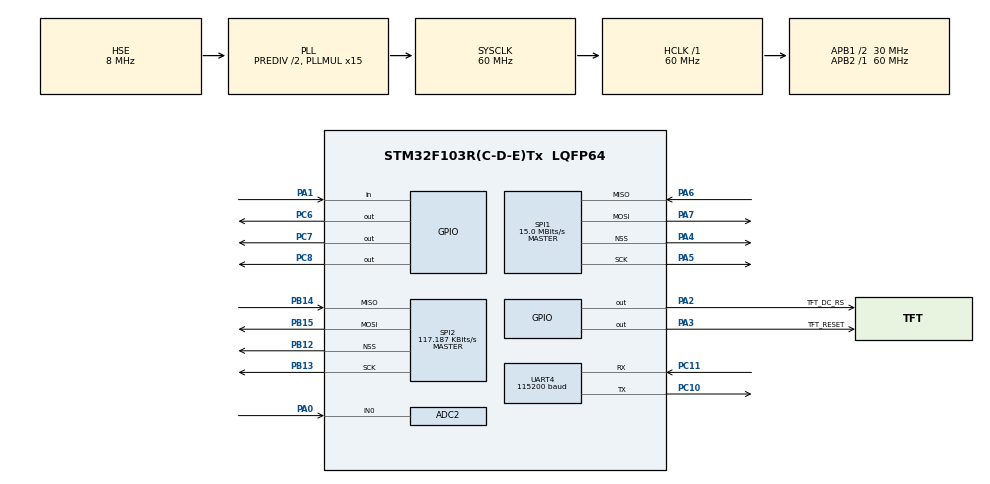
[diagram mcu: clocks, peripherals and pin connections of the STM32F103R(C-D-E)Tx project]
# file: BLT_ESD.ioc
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ADC1.Channel-0\#ChannelRegularConversion=ADC_CHANNEL_TEMPSENSOR
ADC1.ContinuousConvMode=DISABLE
ADC1.ExternalTrigConv=ADC_SOFTWARE_START
ADC1.NbrOfConversion=1
ADC1.NbrOfConversionFlag=1
ADC1.Rank-0\#ChannelRegularConversion=1
ADC1.SamplingTime-0\#ChannelRegularConversion=ADC_SAMPLETIME_239CYCLES_5
ADC1.master=1
ADC2.Channel-1\#ChannelRegularConversion=ADC_CHANNEL_0
ADC2.ExternalTrigConv=ADC_SOFTWARE_START
ADC2.NbrOfConversionFlag=1
ADC2.Rank-1\#ChannelRegularConversion=1
ADC2.SamplingTime-1\#ChannelRegularConversion=ADC_SAMPLETIME_1CYCLE_5
Dma.ADC1.0.Direction=DMA_PERIPH_TO_MEMORY
Dma.ADC1.0.Instance=DMA1_Channel1
Dma.ADC1.0.MemDataAlignment=DMA_MDATAALIGN_HALFWORD
Dma.ADC1.0.MemInc=DMA_MINC_ENABLE
Dma.ADC1.0.Mode=DMA_CIRCULAR
Dma.ADC1.0.PeriphDataAlignment=DMA_PDATAALIGN_HALFWORD
Dma.ADC1.0.PeriphInc=DMA_PINC_DISABLE
Dma.ADC1.0.Priority=DMA_PRIORITY_LOW
Dma.Request0=ADC1
Mcu.Family=STM32F1
Mcu.Name=STM32F103R(C-D-E)Tx
Mcu.Package=LQFP64
NVIC.DMA1_Channel1_IRQn=true\:0\:0\:false\:false\:true\:false\:true\:true
NVIC.PriorityGroup=NVIC_PRIORITYGROUP_4
NVIC.TIM8_UP_IRQn=true\:15\:0\:false\:false\:true\:false\:true\:true
NVIC.TimeBase=TIM8_UP_IRQn
NVIC.TimeBaseIP=TIM8
NVIC.UART4_IRQn=true\:2\:0\:true\:false\:true\:true\:true\:true
PA0-WKUP.Signal=ADCx_IN0
PA1.Signal=GPIO_Input
PA13.Mode=Serial_Wire
PA13.Signal=SYS_JTMS-SWDIO
PA14.Mode=Serial_Wire
PA14.Signal=SYS_JTCK-SWCLK
PA2.GPIO_Label=TFT_DC_RS
PA2.GPIO_Speed=GPIO_SPEED_FREQ_MEDIUM
PA2.Signal=GPIO_Output
PA3.GPIO_Label=TFT_RESET
PA3.GPIO_Speed=GPIO_SPEED_FREQ_MEDIUM
PA3.Signal=GPIO_Output
PA4.Mode=NSS_Signal_Hard_Output
PA4.Signal=SPI1_NSS
PA5.Mode=Full_Duplex_Master
PA5.Signal=SPI1_SCK
PA6.Mode=Full_Duplex_Master
PA6.Signal=SPI1_MISO
PA7.Mode=Full_Duplex_Master
PA7.Signal=SPI1_MOSI
PB12.Mode=NSS_Signal_Hard_Output
PB12.Signal=SPI2_NSS
PB13.Mode=Full_Duplex_Master
PB13.Signal=SPI2_SCK
PB14.Mode=Full_Duplex_Master
PB14.Signal=SPI2_MISO
PB15.Mode=Full_Duplex_Master
PB15.Signal=SPI2_MOSI
PC10.Mode=Asynchronous
PC10.Signal=UART4_TX
PC11.Mode=Asynchronous
PC11.Signal=UART4_RX
PC6.PinState=GPIO_PIN_SET
PC6.Signal=GPIO_Output
PC7.Signal=GPIO_Output
PC8.Signal=GPIO_Output
PD0-OSC_IN.Mode=HSE-External-Oscillator
PD0-OSC_IN.Signal=RCC_OSC_IN
PD1-OSC_OUT.Mode=HSE-External-Oscillator
PD1-OSC_OUT.Signal=RCC_OSC_OUT
ProjectManager.HeapSize=0x200
ProjectManager.StackSize=0x400
ProjectManager.TargetToolchain=STM32CubeIDE
RCC.ADCPresc=RCC_ADCPCLK2_DIV6
RCC.AHBFreq_Value=60000000
RCC.APB1CLKDivider=RCC_HCLK_DIV2
RCC.APB1Freq_Value=30000000
RCC.APB1TimFreq_Value=60000000
RCC.APB2Freq_Value=60000000
RCC.APB2TimFreq_Value=60000000
RCC.HCLKFreq_Value=60000000
RCC.HSEDivPLL=RCC_HSE_PREDIV_DIV2
RCC.PLLMUL=RCC_PLL_MUL15
RCC.PLLSourceVirtual=RCC_PLLSOURCE_HSE
RCC.SYSCLKFreq_VALUE=60000000
RCC.SYSCLKSource=RCC_SYSCLKSOURCE_PLLCLK
RCC.USBFreq_Value=60000000
SH.ADCx_IN0.0=ADC2_IN0,IN0
SPI1.BaudRatePrescaler=SPI_BAUDRATEPRESCALER_4
SPI1.CalculateBaudRate=15.0 MBits/s
SPI1.Direction=SPI_DIRECTION_2LINES
SPI1.Mode=SPI_MODE_MASTER
SPI1.VirtualNSS=VM_NSSHARD
SPI1.VirtualType=VM_MASTER
SPI2.BaudRatePrescaler=SPI_BAUDRATEPRESCALER_256
SPI2.CalculateBaudRate=117.187 KBits/s
SPI2.Direction=SPI_DIRECTION_2LINES
SPI2.Mode=SPI_MODE_MASTER
SPI2.VirtualNSS=VM_NSSHARD
SPI2.VirtualType=VM_MASTER
TIM1.Prescaler=59
UART4.BaudRate=115200
UART4.VirtualMode=Asynchronous
VP_ADC1_TempSens_Input.Mode=IN-TempSens
VP_SYS_VS_tim8.Mode=TIM8
VP_TIM1_VS_ClockSourceINT.Mode=Internal
board=custom

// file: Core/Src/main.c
/* USER CODE BEGIN Header */
/**
 ******************************************************************************
 * @file           : main.c
 * @brief          : Main program body
 ******************************************************************************
 * @attention
 *
 * Copyright (c) 2024 STMicroelectronics.
 * All rights reserved.
 *
 * This software is licensed under terms that can be found in the LICENSE file
 * in the root directory of this software component.
 * If no LICENSE file comes with this software, it is provided AS-IS.
 *
 ******************************************************************************
 */
/* USER CODE END Header */
#include "main.h"

/* USER CODE BEGIN Includes */

#include "delay_timer.h"

#include "graphics.h"
#include "calibrate_touch.h"
#include "ili9341.h"
#include "touch.h"
#include "screen.h"
#include "event.h"

#include "read_adc.h"
#include "cal_temperature.h"
#include "illuminance.h"
#include "auto_led.h"

#include "FreeRTOS.h"
#include "event_groups.h"
#include "queue.h"
#include "task.h"
#include "timers.h"

#include <string.h>

/* USER CODE END Includes */

ADC_HandleTypeDef hadc1;
ADC_HandleTypeDef hadc2;
DMA_HandleTypeDef hdma_adc1;

SPI_HandleTypeDef hspi1;
SPI_HandleTypeDef hspi2;

TIM_HandleTypeDef htim1;

UART_HandleTypeDef huart4;

/* USER CODE BEGIN PV */

/**********************
 *  EXTERN VARIABLES
 **********************/

extern float Temperature;
extern int16_t Ev;
extern control_led_t led_state;
extern control_auto_t auto_state;
extern uint8_t MQTT[15];
extern uint8_t MQTT_pos;

/**********************
 *  STATIC VARIABLES
 **********************/
// Task Handle
static TaskHandle_t uart_rx_task;
static TaskHandle_t uart_tx_task;
static TaskHandle_t control_led_task;
static TaskHandle_t screen_task;

static screen_state_t screen_current = SCREEN_START;
static TimerHandle_t timer_refresh_display;

/**********************
 *  GLOBAL VARIABLES
 **********************/

int16_t x;
int16_t y;
uint8_t flag_is_touch = 0;

char buffer_uart_rx[RX_BUFFER_SIZE + 1];
char buffer_uart_tx[RX_BUFFER_SIZE + 1];

// QueueHandle
QueueHandle_t queue_control_led = NULL;
QueueHandle_t queue_control_auto = NULL;

// EventGroup Handle
EventGroupHandle_t event_uart_tx;
EventGroupHandle_t event_uart_rx;

// Timer Handle
TimerHandle_t timer_request_scan_wifi;
TimerHandle_t timer_wait_off_screen;
TimerHandle_t timer_request_mqtt_Pub;

static control_led_t check_state_led = LED_OFF;
static control_auto_t check_state_auto = AUTO_OFF;

 int16_t lux = 0;
 int16_t value_adc;
/* USER CODE END PV */

void SystemClock_Config(void);
static void MX_GPIO_Init(void);
static void MX_DMA_Init(void);
static void MX_SPI1_Init(void);
static void MX_UART4_Init(void);
static void MX_ADC1_Init(void);
static void MX_ADC2_Init(void);
static void MX_TIM1_Init(void);
static void MX_SPI2_Init(void);
/* USER CODE BEGIN PFP */

static void Screen_Task(void *pvParameters);
static void UartTx_Task(void *pvParameters);
static void UartRx_Task(void *pvParameters);
static void ControlLed_Task(void *pvParameters);

/* USER CODE END PFP */

/* USER CODE BEGIN 0 */
static void processingDataMQTTPublish()
{
	  char state_led[4], state_auto[4];
	  if (check_state_led == LED_ON) strcpy(state_led, "ON");
	  else strcpy(state_led, "OFF");

	  if (check_state_auto == AUTO_ON) strcpy(state_auto, "ON");
	  else strcpy(state_auto, "OFF");
		temperature_sensor_enable(value_adc, &hadc1);
		Temperature = calculate_temperature(value_adc);
		float volt = voltage_adc();
		float ev_before = illuminance_adc(volt);
	  lux = adjust_Ev(ev_before);

	  sprintf((char *)buffer_uart_tx, "%s\r%s\r%d\r%.2f\r", state_led, state_auto, lux, Temperature);
}

void timerRequestScanWifi(TimerHandle_t xTimer)
{
	xEventGroupSetBits(event_uart_tx, ON_WIFI_BIT);
}

void timerRefreshDisplayCb(TimerHandle_t xTimer)
{
	xEventGroupSetBits(event_uart_rx, REFRESH_DISPLAY_BIT);
}

void vBacklightTimerCb(TimerHandle_t xTimer)
{
	screen_current = SCREEN_OFF;
	GraphicsClear(BLACK);
	xTimerStop(timer_request_scan_wifi, 0);
	HAL_GPIO_WritePin(GPIOC, GPIO_PIN_8, 1);
}

void timerRequestmqttPub(TimerHandle_t xTimer)
{
	processingDataMQTTPublish();
  xEventGroupSetBits(event_uart_tx, MQTT_PUBLISH_BIT);
}
/* USER CODE END 0 */

int main(void)
{

  /* MCU Configuration--------------------------------------------------------*/

  /* Reset of all peripherals, Initializes the Flash interface and the Systick. */
  HAL_Init();

  /* Configure the system clock */
  SystemClock_Config();

  /* Initialize all configured peripherals */
  MX_GPIO_Init();
  MX_DMA_Init();
  MX_SPI1_Init();
  MX_UART4_Init();
  MX_ADC1_Init();
  MX_ADC2_Init();
  MX_TIM1_Init();
  MX_SPI2_Init();
  /* USER CODE BEGIN 2 */

  // Init driver

  GraphicsInit();
  TouchCalibrate();
  UARTConfig(&huart4, RX_BUFFER_SIZE * 2);

  // Init application

  bit_map_screen_1.screen = 1;
  bit_map_screen_1.wifi = 1;
  bit_map_screen_1.home = 1;
  bit_map_screen_1.MQTT = 1;

  bit_map_screen_5.MQTT_Connected = 0;

  bit_map_screen_2.WIFI_Connected = 0;

  // init service
	queue_control_led = xQueueCreate(1, sizeof(control_led_t));
	queue_control_auto = xQueueCreate(1, sizeof(control_auto_t));

	event_uart_tx = xEventGroupCreate();
	event_uart_rx = xEventGroupCreate();

	timer_request_scan_wifi = xTimerCreate("timer scan", TIME_REQUEST_SCAN, pdTRUE, (void *)0, timerRequestScanWifi);
	timer_refresh_display = xTimerCreate("timer refresh", TIME_REFRESH_DISPLAY, pdTRUE, 0, timerRefreshDisplayCb);
	timer_wait_off_screen = xTimerCreate("timer wait", TIME_WAIT, pdFALSE, (void *)0, vBacklightTimerCb);
	timer_request_mqtt_Pub = xTimerCreate("timer read", TIME_READ, pdTRUE, (void *)0, timerRequestmqttPub);

  // init task

	xTaskCreate(Screen_Task, "Screen_Task", configMINIMAL_STACK_SIZE * 16, NULL, 4, &screen_task);
	xTaskCreate(UartTx_Task, "Transmit_Task", configMINIMAL_STACK_SIZE, NULL, 2, &uart_tx_task);
	xTaskCreate(UartRx_Task, "Receive_Task", configMINIMAL_STACK_SIZE * 3, NULL, 2, &uart_rx_task);
	xTaskCreate(ControlLed_Task, "led_Task", configMINIMAL_STACK_SIZE, NULL, 3, &control_led_task);
  /* USER CODE END 2 */

  /* Infinite loop */
  /* USER CODE BEGIN WHILE */

//
  vTaskStartScheduler();
  while (1)
  {
    /* USER CODE END WHILE */

  }
}

void SystemClock_Config(void)
{
  RCC_OscInitTypeDef RCC_OscInitStruct = {0};
  RCC_ClkInitTypeDef RCC_ClkInitStruct = {0};
  RCC_PeriphCLKInitTypeDef PeriphClkInit = {0};

  /** Initializes the RCC Oscillators according to the specified parameters
  * in the RCC_OscInitTypeDef structure.
  */
  RCC_OscInitStruct.OscillatorType = RCC_OSCILLATORTYPE_HSE;
  RCC_OscInitStruct.HSEState = RCC_HSE_ON;
  RCC_OscInitStruct.HSEPredivValue = RCC_HSE_PREDIV_DIV2;
  RCC_OscInitStruct.HSIState = RCC_HSI_ON;
  RCC_OscInitStruct.PLL.PLLState = RCC_PLL_ON;
  RCC_OscInitStruct.PLL.PLLSource = RCC_PLLSOURCE_HSE;
  RCC_OscInitStruct.PLL.PLLMUL = RCC_PLL_MUL15;
  if (HAL_RCC_OscConfig(&RCC_OscInitStruct) != HAL_OK)
  {
    Error_Handler();
  }

  /** Initializes the CPU, AHB and APB buses clocks
  */
  RCC_ClkInitStruct.ClockType = RCC_CLOCKTYPE_HCLK|RCC_CLOCKTYPE_SYSCLK
                              |RCC_CLOCKTYPE_PCLK1|RCC_CLOCKTYPE_PCLK2;
  RCC_ClkInitStruct.SYSCLKSource = RCC_SYSCLKSOURCE_PLLCLK;
  RCC_ClkInitStruct.AHBCLKDivider = RCC_SYSCLK_DIV1;
  RCC_ClkInitStruct.APB1CLKDivider = RCC_HCLK_DIV2;
  RCC_ClkInitStruct.APB2CLKDivider = RCC_HCLK_DIV1;

  if (HAL_RCC_ClockConfig(&RCC_ClkInitStruct, FLASH_LATENCY_2) != HAL_OK)
  {
    Error_Handler();
  }
  PeriphClkInit.PeriphClockSelection = RCC_PERIPHCLK_ADC;
  PeriphClkInit.AdcClockSelection = RCC_ADCPCLK2_DIV6;
  if (HAL_RCCEx_PeriphCLKConfig(&PeriphClkInit) != HAL_OK)
  {
    Error_Handler();
  }
}

static void MX_ADC1_Init(void)
{

  ADC_ChannelConfTypeDef sConfig = {0};

  /** Common config
  */
  hadc1.Instance = ADC1;
  hadc1.Init.ScanConvMode = ADC_SCAN_DISABLE;
  hadc1.Init.ContinuousConvMode = DISABLE;
  hadc1.Init.DiscontinuousConvMode = DISABLE;
  hadc1.Init.ExternalTrigConv = ADC_SOFTWARE_START;
  hadc1.Init.DataAlign = ADC_DATAALIGN_RIGHT;
  hadc1.Init.NbrOfConversion = 1;
  if (HAL_ADC_Init(&hadc1) != HAL_OK)
  {
    Error_Handler();
  }

  /** Configure Regular Channel
  */
  sConfig.Channel = ADC_CHANNEL_TEMPSENSOR;
  sConfig.Rank = ADC_REGULAR_RANK_1;
  sConfig.SamplingTime = ADC_SAMPLETIME_239CYCLES_5;
  if (HAL_ADC_ConfigChannel(&hadc1, &sConfig) != HAL_OK)
  {
    Error_Handler();
  }

}

static void MX_ADC2_Init(void)
{

  ADC_ChannelConfTypeDef sConfig = {0};

  /** Common config
  */
  hadc2.Instance = ADC2;
  hadc2.Init.ScanConvMode = ADC_SCAN_DISABLE;
  hadc2.Init.ContinuousConvMode = DISABLE;
  hadc2.Init.DiscontinuousConvMode = DISABLE;
  hadc2.Init.ExternalTrigConv = ADC_SOFTWARE_START;
  hadc2.Init.DataAlign = ADC_DATAALIGN_RIGHT;
  hadc2.Init.NbrOfConversion = 1;
  if (HAL_ADC_Init(&hadc2) != HAL_OK)
  {
    Error_Handler();
  }

  /** Configure Regular Channel
  */
  sConfig.Channel = ADC_CHANNEL_0;
  sConfig.Rank = ADC_REGULAR_RANK_1;
  sConfig.SamplingTime = ADC_SAMPLETIME_1CYCLE_5;
  if (HAL_ADC_ConfigChannel(&hadc2, &sConfig) != HAL_OK)
  {
    Error_Handler();
  }

}

static void MX_SPI1_Init(void)
{

  /* SPI1 parameter configuration*/
  hspi1.Instance = SPI1;
  hspi1.Init.Mode = SPI_MODE_MASTER;
  hspi1.Init.Direction = SPI_DIRECTION_2LINES;
  hspi1.Init.DataSize = SPI_DATASIZE_8BIT;
  hspi1.Init.CLKPolarity = SPI_POLARITY_LOW;
  hspi1.Init.CLKPhase = SPI_PHASE_1EDGE;
  hspi1.Init.NSS = SPI_NSS_HARD_OUTPUT;
  hspi1.Init.BaudRatePrescaler = SPI_BAUDRATEPRESCALER_4;
  hspi1.Init.FirstBit = SPI_FIRSTBIT_MSB;
  hspi1.Init.TIMode = SPI_TIMODE_DISABLE;
  hspi1.Init.CRCCalculation = SPI_CRCCALCULATION_DISABLE;
  hspi1.Init.CRCPolynomial = 10;
  if (HAL_SPI_Init(&hspi1) != HAL_OK)
  {
    Error_Handler();
  }

}

static void MX_SPI2_Init(void)
{

  /* SPI2 parameter configuration*/
  hspi2.Instance = SPI2;
  hspi2.Init.Mode = SPI_MODE_MASTER;
  hspi2.Init.Direction = SPI_DIRECTION_2LINES;
  hspi2.Init.DataSize = SPI_DATASIZE_8BIT;
  hspi2.Init.CLKPolarity = SPI_POLARITY_LOW;
  hspi2.Init.CLKPhase = SPI_PHASE_1EDGE;
  hspi2.Init.NSS = SPI_NSS_HARD_OUTPUT;
  hspi2.Init.BaudRatePrescaler = SPI_BAUDRATEPRESCALER_256;
  hspi2.Init.FirstBit = SPI_FIRSTBIT_MSB;
  hspi2.Init.TIMode = SPI_TIMODE_DISABLE;
  hspi2.Init.CRCCalculation = SPI_CRCCALCULATION_DISABLE;
  hspi2.Init.CRCPolynomial = 10;
  if (HAL_SPI_Init(&hspi2) != HAL_OK)
  {
    Error_Handler();
  }

}

static void MX_TIM1_Init(void)
{

  TIM_ClockConfigTypeDef sClockSourceConfig = {0};
  TIM_MasterConfigTypeDef sMasterConfig = {0};

  htim1.Instance = TIM1;
  htim1.Init.Prescaler = 59;
  htim1.Init.CounterMode = TIM_COUNTERMODE_UP;
  htim1.Init.Period = 65535;
  htim1.Init.ClockDivision = TIM_CLOCKDIVISION_DIV1;
  htim1.Init.RepetitionCounter = 0;
  htim1.Init.AutoReloadPreload = TIM_AUTORELOAD_PRELOAD_DISABLE;
  if (HAL_TIM_Base_Init(&htim1) != HAL_OK)
  {
    Error_Handler();
  }
  sClockSourceConfig.ClockSource = TIM_CLOCKSOURCE_INTERNAL;
  if (HAL_TIM_ConfigClockSource(&htim1, &sClockSourceConfig) != HAL_OK)
  {
    Error_Handler();
  }
  sMasterConfig.MasterOutputTrigger = TIM_TRGO_RESET;
  sMasterConfig.MasterSlaveMode = TIM_MASTERSLAVEMODE_DISABLE;
  if (HAL_TIMEx_MasterConfigSynchronization(&htim1, &sMasterConfig) != HAL_OK)
  {
    Error_Handler();
  }

}

static void MX_UART4_Init(void)
{

  huart4.Instance = UART4;
  huart4.Init.BaudRate = 115200;
  huart4.Init.WordLength = UART_WORDLENGTH_8B;
  huart4.Init.StopBits = UART_STOPBITS_1;
  huart4.Init.Parity = UART_PARITY_NONE;
  huart4.Init.Mode = UART_MODE_TX_RX;
  huart4.Init.HwFlowCtl = UART_HWCONTROL_NONE;
  huart4.Init.OverSampling = UART_OVERSAMPLING_16;
  if (HAL_UART_Init(&huart4) != HAL_OK)
  {
    Error_Handler();
  }

}

static void MX_DMA_Init(void)
{

  /* DMA controller clock enable */
  __HAL_RCC_DMA1_CLK_ENABLE();

  /* DMA interrupt init */
  /* DMA1_Channel1_IRQn interrupt configuration */
  HAL_NVIC_SetPriority(DMA1_Channel1_IRQn, 0, 0);
  HAL_NVIC_EnableIRQ(DMA1_Channel1_IRQn);

}

static void MX_GPIO_Init(void)
{
  GPIO_InitTypeDef GPIO_InitStruct = {0};

  /* GPIO Ports Clock Enable */
  __HAL_RCC_GPIOD_CLK_ENABLE();
  __HAL_RCC_GPIOA_CLK_ENABLE();
  __HAL_RCC_GPIOB_CLK_ENABLE();
  __HAL_RCC_GPIOC_CLK_ENABLE();

  /*Configure GPIO pin Output Level */
  HAL_GPIO_WritePin(GPIOA, TFT_DC_RS_Pin|TFT_RESET_Pin, GPIO_PIN_RESET);

  /*Configure GPIO pin Output Level */
  HAL_GPIO_WritePin(GPIOC, GPIO_PIN_6, GPIO_PIN_SET);

  /*Configure GPIO pin Output Level */
  HAL_GPIO_WritePin(GPIOC, GPIO_PIN_7|GPIO_PIN_8, GPIO_PIN_RESET);

  /*Configure GPIO pin : PA1 */
  GPIO_InitStruct.Pin = GPIO_PIN_1;
  GPIO_InitStruct.Mode = GPIO_MODE_INPUT;
  GPIO_InitStruct.Pull = GPIO_NOPULL;
  HAL_GPIO_Init(GPIOA, &GPIO_InitStruct);

  /*Configure GPIO pins : TFT_DC_RS_Pin TFT_RESET_Pin */
  GPIO_InitStruct.Pin = TFT_DC_RS_Pin|TFT_RESET_Pin;
  GPIO_InitStruct.Mode = GPIO_MODE_OUTPUT_PP;
  GPIO_InitStruct.Pull = GPIO_NOPULL;
  GPIO_InitStruct.Speed = GPIO_SPEED_FREQ_MEDIUM;
  HAL_GPIO_Init(GPIOA, &GPIO_InitStruct);

  /*Configure GPIO pins : PC6 PC7 PC8 */
  GPIO_InitStruct.Pin = GPIO_PIN_6|GPIO_PIN_7|GPIO_PIN_8;
  GPIO_InitStruct.Mode = GPIO_MODE_OUTPUT_PP;
  GPIO_InitStruct.Pull = GPIO_NOPULL;
  GPIO_InitStruct.Speed = GPIO_SPEED_FREQ_LOW;
  HAL_GPIO_Init(GPIOC, &GPIO_InitStruct);

}

/* USER CODE BEGIN 4 */
static void Screen_Task(void *pvParameters)
{
	xTimerStart(timer_refresh_display, 0);
	xTimerStart(timer_wait_off_screen, 0);
  while (1)
  {
    // state machine ui_screen (choose ui screen)
    EventBits_t uxBits = xEventGroupWaitBits(event_uart_rx, SCAN_WIFI_BIT |
              CONNECT_WIFI_SUCCESSFUL_BIT |
              CONNECT_WIFI_UNSUCCESSFUL_BIT |
              REFUSE_CONNECT_MQTT_BIT |
              CONNECT_MQTT_SUCCESSFUL_BIT |
              CONNECT_MQTT_UNSUCCESSFUL_BIT |
              REFRESH_DISPLAY_BIT,
			  pdTRUE, pdFALSE, portMAX_DELAY);
    if ((uxBits & CONNECT_WIFI_UNSUCCESSFUL_BIT) == CONNECT_WIFI_UNSUCCESSFUL_BIT)
    {
    	bit_map_screen_2.WIFI_Connected = 0;
    }

	if (uxBits & CONNECT_WIFI_SUCCESSFUL_BIT)
	{
		bit_map_screen_2.WIFI_Connected = 1;
	}
    if (uxBits != 0)
    {
		float volt = voltage_adc();
		float ev_before = illuminance_adc(volt);
		lux = adjust_Ev(ev_before);

		temperature_sensor_enable(value_adc, &hadc1);
		Temperature = calculate_temperature(value_adc);
      if (flag_is_touch == 1)
      {
        xTimerReset( timer_wait_off_screen, 0 );   // reset Timer
      }
      TouchGetCalibratedPoint(&x, &y);
		switch (screen_current)
		{
		  case SCREEN_START:
			check_event_screen_1(&screen_current);
			screen_1(uxBits);
			break;

		  case SCREEN_WIFI:
			check_event_screen_2(&screen_current);
			screen_2(uxBits);
			break;

		  case SCREEN_KEYPAD:
			check_event_screen_3(&screen_current);
			screen_3(uxBits);
			break;

		  case SCREEN_MAIN:
			check_event_screen_4(&screen_current);
			screen_4(uxBits);
			break;

		  case SCREEN_MQTT:
			check_event_screen_5(&screen_current);
			screen_5(uxBits);
			break;

		  case SCREEN_OFF:
			check_event_screen_6(&screen_current);
			break;
		}
    }
  }
}

static void transmitdata(uart_tx_heading_t heading, char *data)
{
	UARTWrite((char *)&heading, 1);
	UARTWrite(data, strlen(data));
	UARTWrite("\n", 1);
}

static void UartTx_Task(void *pvParameters)
{
	memset(buffer_uart_tx, '\0', sizeof(buffer_uart_tx));
	while (1)
	{
		EventBits_t uxBits = xEventGroupWaitBits(event_uart_tx,
												 ON_WIFI_BIT |
												 OFF_WIFI_BIT |
												 NEXT_PAGE_BIT |
												 BACK_PAGE_BIT |
												 CONNECT_WIFI_BIT |
												 CONNECT_MQTT_BIT |
												 MQTT_PUBLISH_BIT,
												 pdTRUE, pdFALSE,
												 portMAX_DELAY);
		if (uxBits & ON_WIFI_BIT)
		{
		  sprintf((char *)buffer_uart_tx, "%s", "ON");
		  transmitdata(HEADING_WIFI, (char *)buffer_uart_tx);
		}

		if (uxBits & OFF_WIFI_BIT)
		{
		  sprintf((char *)buffer_uart_tx, "%s", "OFF");
		  transmitdata(HEADING_WIFI, (char *)buffer_uart_tx);
		}

		if (uxBits & NEXT_PAGE_BIT)
		{
		  sprintf((char *)buffer_uart_tx, "%s", "NEXT");
		  transmitdata(HEADING_TAB_PAGE, (char *)buffer_uart_tx);
		}

		if (uxBits & BACK_PAGE_BIT)
		{
		  sprintf((char *)buffer_uart_tx, "%s", "BACK");
		  transmitdata(HEADING_TAB_PAGE, (char *)buffer_uart_tx);
		}

		if (uxBits & CONNECT_WIFI_BIT) // send ssid-pass from event_screen_3
		{
		  transmitdata(HEADING_CONNECT_WIFI, (char *)buffer_uart_tx);
		}

		if (uxBits & CONNECT_MQTT_BIT) // send ip of mqtt from event_screen_5
		{
		  transmitdata(HEADING_CONNECT_MQTT, (char *)buffer_uart_tx);
		}

		if (uxBits & MQTT_PUBLISH_BIT)
		{

		  transmitdata(HEADING_MQTT_PUBLISH, (char *)buffer_uart_tx);
		}

		memset(buffer_uart_tx, '\0', sizeof(buffer_uart_tx));
	}
}

static void UartRx_Task(void *pvParameters)
{
	uint8_t buffer_temp[RX_BUFFER_SIZE + 1];
	uint16_t pos_buffer_uart_rx = 0;
	uint8_t enable_bit = 0;
	int8_t data_heading = -1;
	uint16_t i;

    memset((void *)buffer_uart_rx, '\0', sizeof(buffer_uart_rx));

	while (1)
	{
		uint32_t rxBytes = UARTRead((char *)buffer_temp);

		if (rxBytes > 0)
		{
			for (i = 0; i < rxBytes; i++)
			{
				buffer_uart_rx[pos_buffer_uart_rx] = buffer_temp[i];
				if (buffer_uart_rx[pos_buffer_uart_rx] == '\n')
				{
					enable_bit = 1;
					buffer_uart_rx[pos_buffer_uart_rx] = '\0';
					pos_buffer_uart_rx = 0;
					break;
				}
				pos_buffer_uart_rx++;
			}

			if (enable_bit == 0)
			{
				continue;
			}

			xTimerStop(timer_refresh_display, 0);

			data_heading = buffer_uart_rx[0];
			uint8_t size_buffer = strlen(buffer_uart_rx);

			for (i = 0; i < size_buffer; i++)
			{
				buffer_uart_rx[i] = buffer_uart_rx[i + 1];
			}

			switch (data_heading)
			{
				case SCAN_WIFI_BIT:
					xEventGroupSetBits(event_uart_rx, SCAN_WIFI_BIT);
					break;

				case HEADING_RECEIVE_CONNECT_WIFI:
					if (memcmp(buffer_uart_rx, "FAILED", strlen(buffer_uart_rx) + 1) == 0)
					{
					  xEventGroupSetBits(event_uart_rx, CONNECT_WIFI_UNSUCCESSFUL_BIT);
					}
					else
					{
					  xEventGroupSetBits(event_uart_rx, CONNECT_WIFI_SUCCESSFUL_BIT);
					}
					break;

				case HEADING_RECEIVE_CONNECT_MQTT:
					if (memcmp(buffer_uart_rx, "TRUE", strlen(buffer_uart_rx) + 1) == 0)
					{
						xTimerStart(timer_request_mqtt_Pub, 0);
					  xEventGroupSetBits(event_uart_rx, CONNECT_MQTT_SUCCESSFUL_BIT);
					}
					else if (memcmp(buffer_uart_rx, "FAILED", strlen(buffer_uart_rx) + 1) == 0)
					{
						xTimerStop(timer_request_mqtt_Pub, 0);
					  xEventGroupSetBits(event_uart_rx, CONNECT_MQTT_UNSUCCESSFUL_BIT);
					}
					else if (memcmp(buffer_uart_rx, "REFUSE", strlen(buffer_uart_rx) + 1) == 0)
					{
						xTimerStop(timer_request_mqtt_Pub, 0);
					  xEventGroupSetBits(event_uart_rx, REFUSE_CONNECT_MQTT_BIT);
					}
					break;

				case HEADING_MQTT_SUBSCRIBE:
				    uint8_t arg_position = 0;

				    // cut string
				    char *temp_token = strtok(buffer_uart_rx, "\r");
				    while(temp_token != NULL)
				    {
				        if (arg_position == 0)
				        {
				        	if (memcmp(temp_token, "OFF", strlen(temp_token) + 1) == 0)
				        	{
				        		led_state = LED_OFF;
				        		xQueueSend(queue_control_led, &led_state, 0);
				        		bit_map_screen_4.OFF = 1; // if Button off
				        	}
				        	else
				        	{
				        		led_state = LED_ON;
				        		xQueueSend(queue_control_led, &led_state, 0);
				        		bit_map_screen_4.ON = 1; // if Button on
				        	}
				        }
				        else if (arg_position == 1)
				        {
				        	if (memcmp(temp_token, "OFF", strlen(temp_token) + 1) == 0)
				        	{
				        		auto_state = AUTO_OFF;
				        		xQueueSend(queue_control_auto, &auto_state, 0);
				        		bit_map_screen_4.off_auto = 1;
				        	}
				        	else
				        	{
				        		auto_state = AUTO_ON;
				        		xQueueSend(queue_control_auto, &auto_state, 0);
				        		bit_map_screen_4.on_auto = 1;
				        	}
				        }
				        arg_position++;

				        temp_token = strtok(NULL, "\r");
				    }
					xEventGroupSetBits(event_uart_rx, HEADING_MQTT_SUBSCRIBE);
					break;

				default:

					break;
			}

			memset((void *)buffer_uart_rx, '\0', sizeof(buffer_uart_rx));
			enable_bit = 0;
			xTimerReset(timer_refresh_display, 0);
		}
		vTaskDelay(50);
	  }
}

static void ControlLed_Task(void *pvParameters)
{
	BaseType_t ret;
	while (1)
	{
		ret = xQueueReceive(queue_control_auto, &check_state_auto, 1000);

		if (ret == pdPASS)
		{
			if (check_state_auto == AUTO_ON)
			{
				if(autocontrol_mode() == 1)
				{
					bit_map_screen_4.ON = 1;
					check_state_led = LED_ON;
					led_state = LED_ON;
				}
				else
				{
					bit_map_screen_4.OFF = 1;
					check_state_led = LED_OFF;
					led_state = LED_OFF;
				}
			}
		}

		ret = xQueueReceive(queue_control_led, &check_state_led, 1000);

		if (ret == pdPASS)
		{
			if (check_state_led == LED_ON)	turnOnLight();
			else turnOffLight();
		}
	}
}

/* USER CODE END 4 */

void HAL_TIM_PeriodElapsedCallback(TIM_HandleTypeDef *htim)
{
  if (htim->Instance == TIM8) {
    HAL_IncTick();
  }
}

void Error_Handler(void)
{
  __disable_irq();
  while (1)
  {
  }
}
